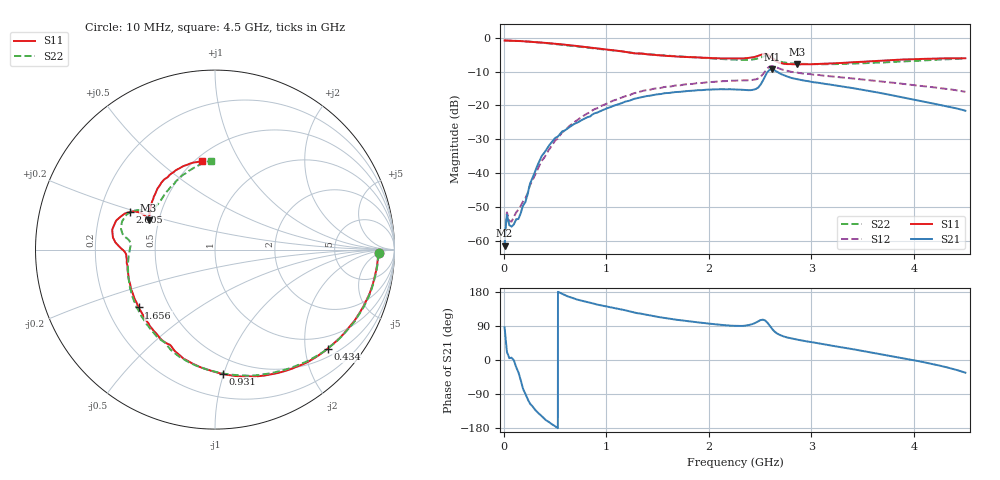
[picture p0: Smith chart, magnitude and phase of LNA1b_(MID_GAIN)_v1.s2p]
! Created Tue Apr 16 19:41:33 2013
# ghz S ma R 50
! 2 Port Network Data from SP1.SP block
! freq  magS11  angS11  magS21  angS21  magS12  angS12  magS22  angS22
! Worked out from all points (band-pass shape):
!   4491 points, 10 MHz to 4.5 GHz, reference 50 ohm
!   highest |S21| = -9.34 dB at 2.614 GHz (marker M1); lowest = -61.6 dB at 10 MHz (marker M2)
!   |S21| within 3 dB of the highest: 2.532 GHz to 2.874 GHz (341.9 MHz wide, 12.6 % of centre)
!   lowest |S11| = -7.9 dB at 2.861 GHz (marker M3), VSWR 2.36, Z = 22 + j8.55 ohm
!   |S11| at or under -10 dB: nowhere
!   |S22| runs from -7.8 to -0.8 dB; largest |S21 - S12| = 0.097
!   S11 on the Smith chart (normalised r, x): 10 MHz: 21, -5; 434 MHz: 0.67, -2.49; 931 MHz: 0.37, -0.99; 1.656 GHz: 0.33, -0.30; 2.605 GHz: 0.33, +0.19; 4.5 GHz: 0.54, +0.71
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0.01  0.9133 -1.3  0.0008361 86.0  0.0008261 88.5  0.9146 -1.4
0.041  0.9081 -3.9  0.002139 15.8  0.002362 16.9  0.9095 -4.1
0.082  0.9048 -7.8  0.00163 4.9  0.001966 12.8  0.9065 -8.0
0.152  0.897 -14.6  0.002222 -39.4  0.002991 -25.9  0.8987 -14.9
0.335  0.8594 -32.0  0.01347 -139.2  0.01161 -117.9  0.859 -32.9
0.434  0.8364 -41.4  0.02442 -162.1  0.02126 -137.5  0.8311 -42.9
0.57  0.7982 -54.3  0.04106 174.9  0.03983 -158.2  0.7866 -56.0
0.759  0.745 -71.2  0.06041 156.6  0.06748 -179.8  0.7323 -73.3
0.931  0.6941 -86.5  0.08042 145.1  0.09469 165.3  0.6847 -88.6
1.186  0.6196 -108.6  0.1138 131.2  0.1367 147.8  0.6206 -110.8
1.507  0.5524 -132.8  0.1462 113.5  0.1795 128.0  0.5569 -135.2
1.656  0.5336 -142.8  0.1563 107.4  0.1946 121.5  0.5381 -145.5
2.255  0.4953 -174.6  0.1721 90.2  0.2323 100.5  0.4745 -179.9
2.463  0.5301 178.6  0.1765 99.4  0.2441 101.7  0.4885 173.1
2.546  0.583 169.2  0.2657 104.9  0.3152 104.5  0.5366 167.5
2.605  0.5176 156.2  0.3392 86.1  0.3796 91.5  0.5176 156.4
2.614  0.5013 154.8  0.3413 82.7  0.3822 89.1  0.5088 155.0
2.684  0.4294 154.4  0.3023 67.1  0.3531 77.2  0.4498 151.0
2.861  0.4042 156.3  0.2444 53.7  0.306 66.2  0.4134 147.8
3.004  0.4071 153.9  0.2225 47.0  0.2872 60.3  0.4081 143.9
3.752  0.4667 133.6  0.1446 11.5  0.2205 30.6  0.4372 120.2
4.5  0.4978 98.5  0.08344 -33.4  0.159 -6.0  0.4955 92.6
